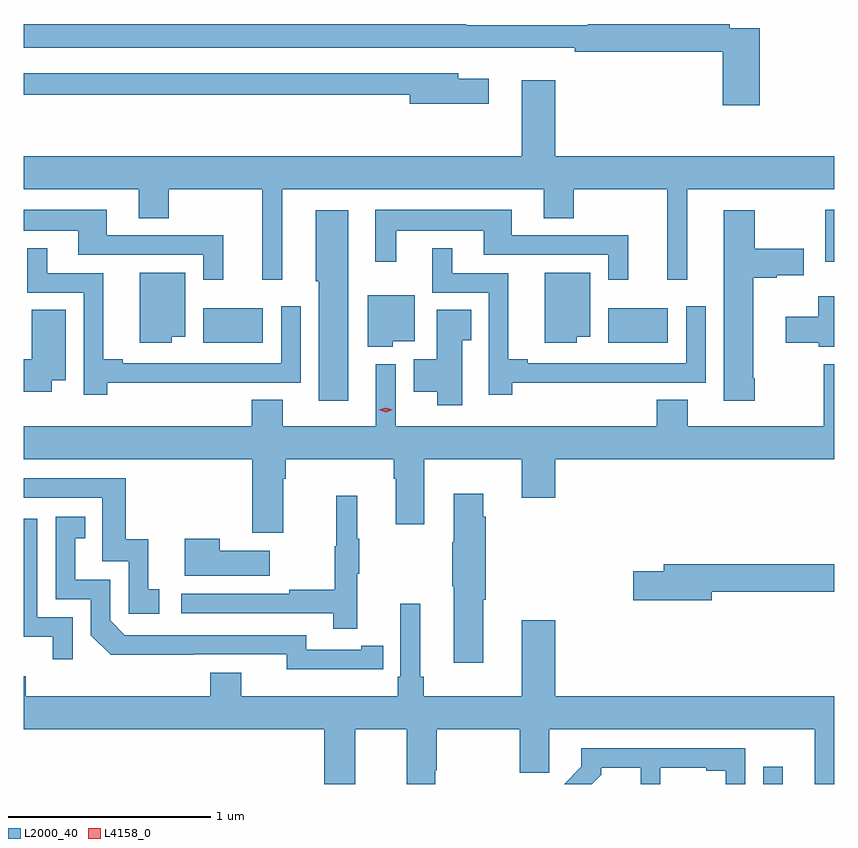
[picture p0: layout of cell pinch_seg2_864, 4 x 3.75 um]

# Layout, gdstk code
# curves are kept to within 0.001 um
import gdstk
lib = gdstk.Library(unit=1e-6, precision=1e-09)
def R(c, l, rs):  # rectangles x0, y0, x1, y1
    for r in rs: c.add(gdstk.rectangle(r[:2], r[2:], *l))
def P(c, l, *ps):  # polygons
    for p in ps: c.add(gdstk.Polygon(p, *l))
L2000_40 = (2000, 40)
L4158_0 = (4158, 0)

pinch_seg2_864 = lib.new_cell('pinch_seg2_864')
R(pinch_seg2_864, L2000_40, [(453.912,586.095,454.008,586.18), (451.148,588.272,451.441,588.442), (453.146,588.272,453.439,588.442), (454.217,588.672,454.262,588.928)])
P(pinch_seg2_864, L2000_40, [(453.893,589.824),(453.746,589.824),(453.746,589.844),(453.046,589.844),(453.046,589.837),(452.446,589.837),(452.446,589.844),(450.262,589.844),(450.262,589.728),(452.544,589.728),(452.544,589.727),(452.98,589.727),(452.98,589.708),(453.71,589.708),(453.71,589.443),(453.893,589.443)],
  [(452.557,589.573),(452.407,589.573),(452.407,589.602),(450.262,589.602),(450.262,589.494),(452.168,589.494),(452.168,589.451),(452.557,589.451)],
  [(451.537,589.028),(452.828,589.028),(452.828,588.886),(452.976,588.886),(452.976,589.028),(453.437,589.028),(453.437,588.582),(453.536,588.582),(453.536,589.028),(454.262,589.028),(454.262,589.192),(452.884,589.192),(452.884,589.567),(452.72,589.567),(452.72,589.192),(450.262,589.192),(450.262,589.028),(450.83,589.028),(450.83,588.886),(450.978,588.886),(450.978,589.028),(451.439,589.028),(451.439,588.582),(451.537,588.582)],
  [(451.247,588.801),(450.673,588.801),(450.673,588.928),(450.262,588.928),(450.262,588.824),(450.533,588.824),(450.533,588.705),(451.149,588.705),(451.149,588.582),(451.247,588.582)],
  [(453.245,588.801),(452.671,588.801),(452.671,588.928),(451.997,588.928),(451.997,588.672),(452.101,588.672),(452.101,588.824),(452.531,588.824),(452.531,588.705),(453.147,588.705),(453.147,588.582),(453.245,588.582)],
  [(453.87,588.097),(453.862,588.097),(453.862,588.593),(453.978,588.593),(453.978,588.605),(454.111,588.605),(454.111,588.735),(453.87,588.735),(453.87,588.925),(453.716,588.925),(453.716,587.985),(453.87,587.985)],
  [(451.864,588.925),(451.703,588.925),(451.703,588.576),(451.718,588.576),(451.718,587.985),(451.864,587.985)],
  [(450.674,588.074),(451.304,588.074),(451.304,588.075),(451.629,588.075),(451.629,588.451),(451.533,588.451),(451.533,588.171),(450.751,588.171),(450.751,588.191),(450.656,588.191),(450.656,588.615),(450.379,588.615),(450.379,588.739),(450.281,588.739),(450.281,588.519),(450.558,588.519),(450.558,588.015),(450.674,588.015)],
  [(452.672,588.074),(453.302,588.074),(453.302,588.075),(453.627,588.075),(453.627,588.451),(453.531,588.451),(453.531,588.171),(452.749,588.171),(452.749,588.191),(452.654,588.191),(452.654,588.615),(452.377,588.615),(452.377,588.739),(452.279,588.739),(452.279,588.519),(452.556,588.519),(452.556,588.015),(452.672,588.015)],
  [(452.992,588.302),(453.058,588.302),(453.058,588.616),(452.834,588.616),(452.834,588.272),(452.992,588.272)],
  [(450.994,588.302),(451.06,588.302),(451.06,588.616),(450.836,588.616),(450.836,588.272),(450.994,588.272)],
  [(452.082,588.278),(452.191,588.278),(452.191,588.505),(451.961,588.505),(451.961,588.251),(452.082,588.251)],
  [(454.262,588.502),(454.181,588.502),(454.181,588.4),(454.023,588.4),(454.023,588.271),(454.185,588.271),(454.185,588.251),(454.262,588.251)],
  [(452.425,588.283),(452.471,588.283),(452.471,588.434),(452.3,588.434),(452.3,588.19),(452.186,588.19),(452.186,588.029),(452.303,588.029),(452.303,587.964),(452.425,587.964)],
  [(450.4,588.086),(450.469,588.086),(450.469,588.434),(450.302,588.434),(450.302,588.19),(450.262,588.19),(450.262,588.029),(450.4,588.029)],
  [(451.543,587.6),(451.556,587.6),(451.556,587.696),(452.087,587.696),(452.087,587.6),(452.099,587.6),(452.099,587.376),(452.239,587.376),(452.239,587.696),(452.72,587.696),(452.72,587.508),(452.884,587.508),(452.884,587.696),(454.262,587.696),(454.262,588.166),(454.209,588.166),(454.209,587.86),(453.538,587.86),(453.538,587.99),(453.386,587.99),(453.386,587.86),(452.097,587.86),(452.097,588.166),(452,588.166),(452,587.86),(451.54,587.86),(451.54,587.99),(451.388,587.99),(451.388,587.86),(450.262,587.86),(450.262,587.696),(451.391,587.696),(451.391,587.334),(451.543,587.334)],
  [(450.931,587.055),(450.878,587.055),(450.878,587.302),(450.767,587.302),(450.767,587.604),(450.262,587.604),(450.262,587.508),(450.651,587.508),(450.651,587.193),(450.78,587.193),(450.78,586.935),(450.931,586.935)],
  [(452.53,587.004),(452.543,587.004),(452.543,587.414),(452.53,587.414),(452.53,587.527),(452.384,587.527),(452.384,587.288),(452.377,587.288),(452.377,587.071),(452.384,587.071),(452.384,586.692),(452.53,586.692)],
  [(451.907,587.131),(451.918,587.131),(451.918,587.305),(451.907,587.305),(451.907,587.518),(451.804,587.518),(451.804,587.268),(451.797,587.268),(451.797,587.054),(451.573,587.054),(451.573,587.034),(451.041,587.034),(451.041,586.938),(451.789,586.938),(451.789,586.86),(451.907,586.86)],
  [(451.928,586.662),(452.036,586.662),(452.036,586.778),(451.928,586.778),(451.928,586.758),(451.656,586.758),(451.656,586.83),(450.762,586.83),(450.69,586.902),(450.69,587.103),(450.517,587.103),(450.517,587.307),(450.566,587.307),(450.566,587.413),(450.42,587.413),(450.42,587.007),(450.594,587.007),(450.594,586.83),(450.692,586.733),(451.56,586.734),(451.56,586.661)],
  [(450.504,586.917),(450.33,586.917),(450.33,587.403),(450.262,587.403),(450.262,586.821),(450.407,586.821),(450.407,586.71),(450.504,586.71)],
  [(451.477,587.245),(451.229,587.245),(451.229,587.305),(451.058,587.305),(451.058,587.123),(451.477,587.123)],
  [(453.658,587.044),(454.262,587.044),(454.262,587.18),(453.419,587.18),(453.419,587.144),(453.27,587.144),(453.27,587.002),(453.658,587.002)],
  [(451.897,586.364),(452.153,586.364),(452.153,586.095),(452.293,586.095),(452.293,586.162),(452.301,586.162),(452.301,586.364),(452.71,586.364),(452.71,586.15),(452.856,586.15),(452.856,586.364),(454.166,586.364),(454.166,586.095),(454.262,586.095),(454.262,586.528),(452.884,586.528),(452.884,586.903),(452.72,586.903),(452.72,586.528),(452.237,586.528),(452.237,586.624),(452.218,586.624),(452.218,586.984),(452.121,586.984),(452.121,586.624),(452.108,586.624),(452.108,586.528),(451.336,586.528),(451.336,586.645),(451.184,586.645),(451.184,586.528),(450.272,586.528),(450.272,586.626),(450.262,586.626),(450.262,586.364),(451.745,586.364),(451.745,586.095),(451.897,586.095)],
  [(453.112,586.141),(453.112,586.175),(453.306,586.175),(453.306,586.095),(453.402,586.095),(453.402,586.176),(453.629,586.176),(453.629,586.161),(453.725,586.161),(453.725,586.095),(453.822,586.095),(453.822,586.272),(453.012,586.272),(453.012,586.179),(452.928,586.095),(453.066,586.095)])
P(pinch_seg2_864, L4158_0, [(452.049,587.93),(452.013,587.941),(452.013,587.941),(452.013,587.941),(452.049,587.95),(452.084,587.94),(452.084,587.94),(452.084,587.94)])

lib.write_gds('pinch_seg2_864.gds')
